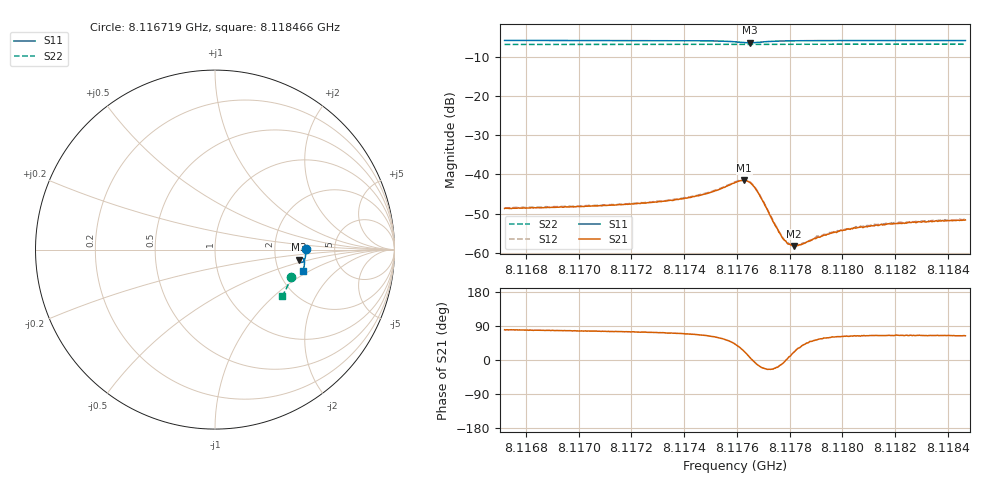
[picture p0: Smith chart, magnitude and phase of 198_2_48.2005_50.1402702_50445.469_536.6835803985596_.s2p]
#  HZ  S  RI  R  50.00
! Rohde & Schwarz Vector Network Analyzer
! Rohde-Schwarz,ZNB20-2Port,1311601062101988,3.16
! Created: UTC 3/20/2024, 11:44:55 AM
! freq[Hz]  re:S11  im:S11  re:S21  im:S21  re:S12  im:S12  re:S22  im:S22
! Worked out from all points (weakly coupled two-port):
!   401 points, 8.116719 GHz to 8.118466 GHz, reference 50 ohm
!   highest |S21| = -41.51 dB at 8.117628 GHz (marker M1); lowest = -58.2 dB at 8.117816 GHz (marker M2)
!   lowest |S11| = -6.5 dB at 8.11765 GHz (marker M3), VSWR 2.79, Z = 136 - j19.9 ohm
!   |S11| at or under -10 dB: nowhere
!   |S22| runs from -6.9 to -6.8 dB; largest |S21 - S12| = 0.00021
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8.1167192e9  0.5065 0.00452  0.00065 0.00362  0.000685 0.00368  0.4244 -0.1508
8.1170118e9  0.5057 -0.0182  0.000892 0.00379  0.000951 0.00386  0.418 -0.17
8.1173045e9  0.5032 -0.0423  0.00139 0.00428  0.00142 0.00434  0.4105 -0.189
8.1174137e9  0.5009 -0.0526  0.00183 0.00468  0.00188 0.00475  0.4074 -0.1961
8.1174705e9  0.4986 -0.0586  0.00228 0.00504  0.00239 0.00509  0.4058 -0.1999
8.1175316e9  0.4938 -0.0659  0.00334 0.00545  0.00344 0.00553  0.4036 -0.2039
8.1175928e9  0.4818 -0.0713  0.00584 0.00526  0.00601 0.00534  0.4014 -0.2077
8.1176277e9  0.4713 -0.0657  0.00776 0.00324  0.00793 0.00323  0.4 -0.2093
8.1176496e9  0.4692 -0.0568  0.00782 0.000897  0.00797 0.00085  0.3995 -0.2102
8.1176627e9  0.4714 -0.0515  0.0071 -0.000369  0.00724 -0.000453  0.3994 -0.2107
8.1176801e9  0.477 -0.047  0.00569 -0.00139  0.00581 -0.00145  0.3991 -0.2118
8.1177413e9  0.4929 -0.0512  0.00221 -0.000895  0.00222 -0.000965  0.3979 -0.2157
8.1177719e9  0.4961 -0.0561  0.00154 -0.000273  0.00158 -0.000256  0.3972 -0.2178
8.1177981e9  0.4974 -0.0598  0.00127 0.000195  0.00129 0.000185  0.3964 -0.2195
8.1178156e9  0.4978 -0.0621  0.00115 0.000423  0.00114 0.000427  0.3958 -0.2208
8.1178418e9  0.4984 -0.0654  0.00104 0.000725  0.00106 0.000702  0.395 -0.2224
8.1178854e9  0.4987 -0.0703  0.000958 0.00112  0.000959 0.00111  0.3935 -0.2251
8.1179117e9  0.4987 -0.0729  0.0009 0.0013  0.000975 0.00132  0.3927 -0.2269
8.117999e9  0.498 -0.0813  0.00089 0.0017  0.000939 0.00172  0.3899 -0.2323
8.1180602e9  0.4974 -0.0865  0.00094 0.00189  0.000977 0.0019  0.3878 -0.2362
8.1181781e9  0.4957 -0.0961  0.000985 0.00213  0.00104 0.00215  0.3837 -0.2435
8.1184664e9  0.4909 -0.1182  0.00116 0.00236  0.00117 0.0024  0.3732 -0.2606
